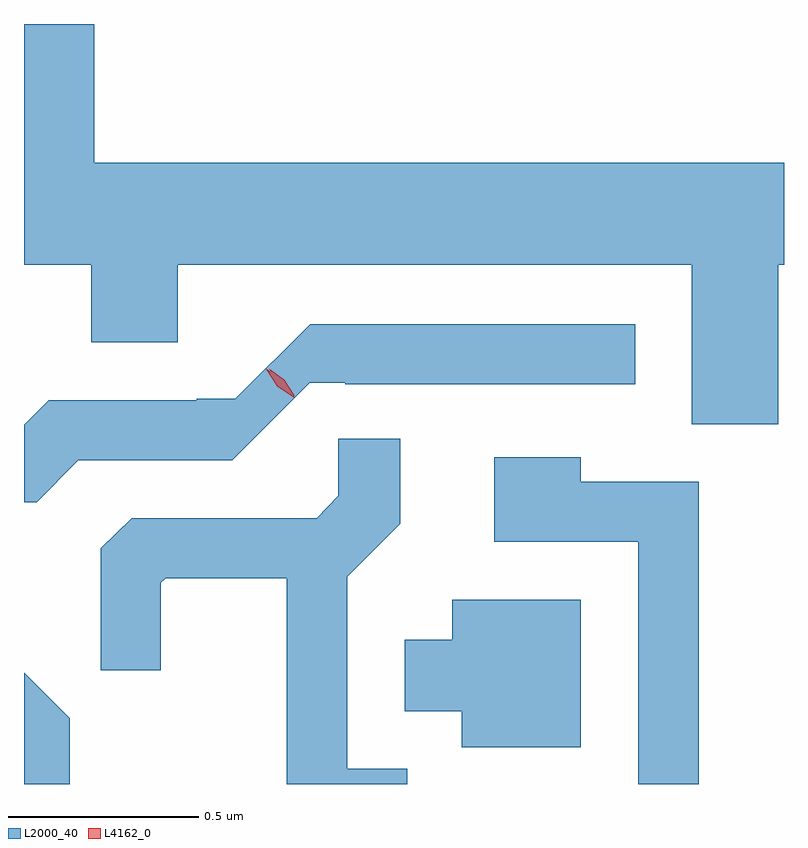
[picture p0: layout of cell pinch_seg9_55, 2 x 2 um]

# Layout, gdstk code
import gdstk
lib = gdstk.Library(unit=1e-6, precision=1e-09)
def P(c, l, *ps):  # polygons
    for p in ps: c.add(gdstk.Polygon(p, *l))
L2000_40 = (2000, 40)
L4162_0 = (4162, 0)

pinch_seg9_55 = lib.new_cell('pinch_seg9_55')
P(pinch_seg9_55, L2000_40, [(641.959,2007.356),(641.974,2007.356),(641.974,2007.624),(640.159,2007.624),(640.159,2007.989),(639.974,2007.989),(639.974,2007.356),(640.151,2007.356),(640.151,2007.151),(640.379,2007.151),(640.379,2007.356),(641.731,2007.356),(641.731,2006.936),(641.959,2006.936)],
  [(640.117,2006.841),(640.522,2006.841),(640.726,2007.045),(640.82,2007.045),(640.82,2007.041),(641.583,2007.041),(641.583,2007.199),(640.727,2007.199),(640.53,2007.003),(640.428,2007.003),(640.428,2006.999),(640.039,2006.999),(639.974,2006.934),(639.974,2006.731),(640.007,2006.731)],
  [(640.983,2006.029),(640.824,2006.029),(640.824,2006.534),(640.964,2006.674),(640.964,2006.898),(640.801,2006.898),(640.801,2006.747),(640.744,2006.689),(640.257,2006.689),(640.176,2006.609),(640.176,2006.288),(640.334,2006.288),(640.334,2006.519),(640.347,2006.531),(640.666,2006.531),(640.666,2005.989),(640.983,2005.989)],
  [(641.749,2006.784),(641.439,2006.784),(641.439,2006.849),(641.211,2006.849),(641.211,2006.626),(641.591,2006.626),(641.591,2005.989),(641.749,2005.989)],
  [(641.439,2006.474),(641.101,2006.474),(641.101,2006.369),(640.976,2006.369),(640.976,2006.181),(641.126,2006.181),(641.126,2006.086),(641.439,2006.086)],
  [(640.094,2006.162),(639.974,2006.282),(639.974,2005.989),(640.094,2005.989)])
P(pinch_seg9_55, L4162_0, [(640.684,2007.011),(640.645,2007.04),(640.619,2007.082),(640.619,2007.082),(640.62,2007.082),(640.659,2007.053),(640.685,2007.012),(640.685,2007.011)],
  [(640.685,2007.005),(640.641,2007.036),(640.611,2007.081),(640.611,2007.082),(640.611,2007.082),(640.655,2007.05),(640.686,2007.006),(640.686,2007.005)])

lib.write_gds('pinch_seg9_55.gds')
